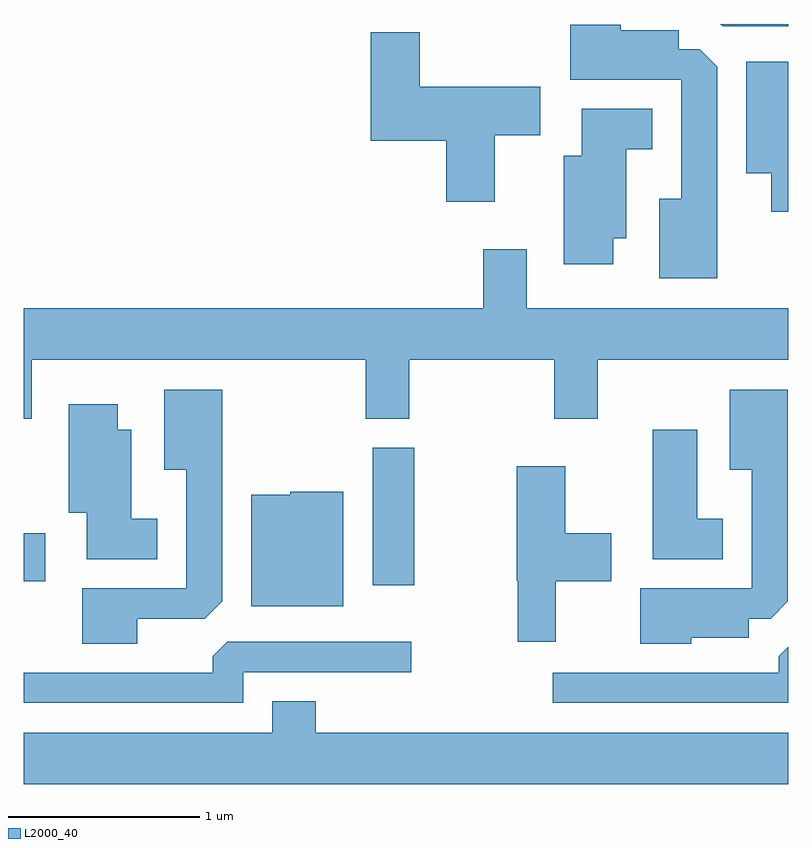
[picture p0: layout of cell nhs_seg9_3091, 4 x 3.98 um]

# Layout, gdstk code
import gdstk
lib = gdstk.Library(unit=1e-6, precision=1e-09)
def R(c, l, rs):  # rectangles x0, y0, x1, y1
    for r in rs: c.add(gdstk.rectangle(r[:2], r[2:], *l))
def P(c, l, *ps):  # polygons
    for p in ps: c.add(gdstk.Polygon(p, *l))
L2000_40 = (2000, 40)

nhs_seg9_3091 = lib.new_cell('nhs_seg9_3091')
R(nhs_seg9_3091, L2000_40, [(277.436,2019.496,277.654,2020.214), (275.611,2019.516,275.724,2019.769)])
P(nhs_seg9_3091, L2000_40, [(279.611,2022.432),(279.256,2022.432),(279.267,2022.421),(279.611,2022.421)],
  [(279.239,2022.209),(279.149,2022.299),(279.039,2022.299),(279.039,2022.399),(278.734,2022.399),(278.734,2022.429),(278.471,2022.429),(278.471,2022.141),(279.051,2022.141),(279.051,2021.519),(278.936,2021.519),(278.936,2021.101),(279.239,2021.101)],
  [(278.074,2021.851),(278.314,2021.851),(278.314,2022.104),(277.684,2022.104),(277.684,2022.389),(277.426,2022.389),(277.426,2021.821),(277.821,2021.821),(277.821,2021.501),(278.074,2021.501)],
  [(279.611,2022.234),(279.391,2022.234),(279.391,2021.651),(279.521,2021.651),(279.521,2021.451),(279.611,2021.451)],
  [(278.694,2021.311),(278.764,2021.311),(278.764,2021.776),(278.899,2021.776),(278.899,2021.989),(278.531,2021.989),(278.531,2021.744),(278.436,2021.744),(278.436,2021.176),(278.694,2021.176)],
  [(275.654,2020.676),(277.401,2020.676),(277.401,2020.366),(277.629,2020.366),(277.629,2020.676),(278.386,2020.676),(278.386,2020.366),(278.614,2020.366),(278.614,2020.676),(279.611,2020.676),(279.611,2020.944),(278.244,2020.944),(278.244,2021.254),(278.016,2021.254),(278.016,2020.944),(275.611,2020.944),(275.611,2020.366),(275.654,2020.366)],
  [(279.104,2019.221),(279.404,2019.221),(279.404,2019.321),(279.519,2019.321),(279.609,2019.412),(279.609,2020.519),(279.306,2020.519),(279.306,2020.101),(279.421,2020.101),(279.421,2019.479),(278.836,2019.479),(278.836,2019.191),(279.104,2019.191)],
  [(276.204,2019.321),(276.559,2019.321),(276.649,2019.412),(276.649,2020.519),(276.346,2020.519),(276.346,2020.101),(276.461,2020.101),(276.461,2019.479),(275.916,2019.479),(275.916,2019.191),(276.204,2019.191)],
  [(276.309,2019.844),(276.174,2019.844),(276.174,2020.309),(276.104,2020.309),(276.104,2020.444),(275.846,2020.444),(275.846,2019.876),(275.941,2019.876),(275.941,2019.631),(276.309,2019.631)],
  [(279.269,2019.844),(279.134,2019.844),(279.134,2020.309),(278.901,2020.309),(278.901,2019.631),(279.269,2019.631)],
  [(278.394,2019.516),(278.684,2019.516),(278.684,2019.769),(278.444,2019.769),(278.444,2020.119),(278.191,2020.119),(278.191,2019.52),(278.196,2019.52),(278.196,2019.201),(278.394,2019.201)],
  [(277.284,2019.984),(277.005,2019.984),(277.005,2019.969),(276.801,2019.969),(276.801,2019.386),(277.284,2019.386)],
  [(276.759,2019.041),(277.638,2019.041),(277.638,2019.199),(276.677,2019.199),(276.601,2019.124),(276.601,2019.039),(275.611,2019.039),(275.611,2018.881),(276.759,2018.881)],
  [(279.611,2019.173),(279.561,2019.124),(279.561,2019.039),(278.378,2019.039),(278.378,2018.881),(279.611,2018.881)],
  [(279.611,2018.724),(277.139,2018.724),(277.139,2018.889),(276.911,2018.889),(276.911,2018.724),(275.611,2018.724),(275.611,2018.456),(279.611,2018.456)])

lib.write_gds('nhs_seg9_3091.gds')
